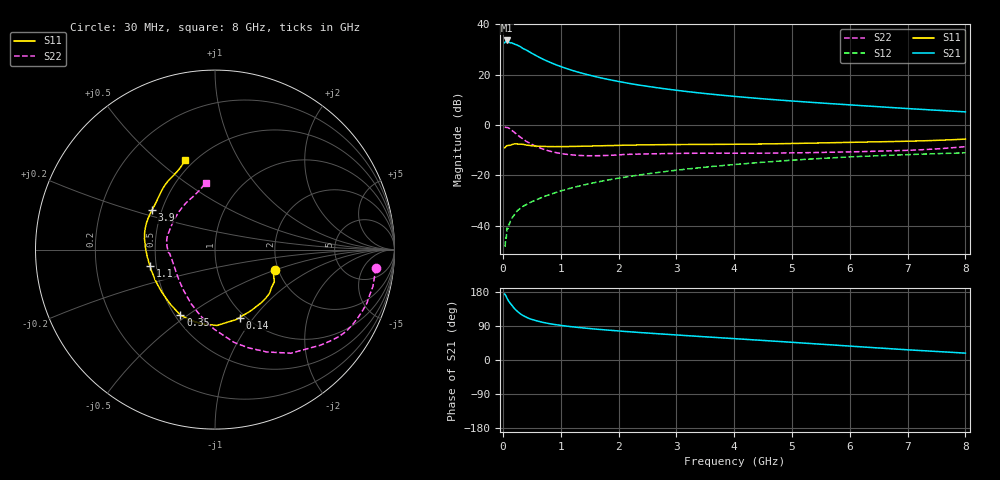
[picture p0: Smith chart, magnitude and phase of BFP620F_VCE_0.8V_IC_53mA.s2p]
! Infineon Technologies  Discrete & RF Semiconductors
! BFP620F
! VCE =  0.8 V,  IC =  53 mA
! Common Emitter S-Parameters:  Dec 2014
# GHz  S  MA  R  50
!  f  S11  S21  S12  S22
! GHz  MAG  ANG  MAG  ANG  MAG  ANG  MAG  ANG
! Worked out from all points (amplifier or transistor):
!   95 points, 30 MHz to 8 GHz, reference 50 ohm
!   highest |S21| = 33.6 dB at 70 MHz (marker M1)
!   |S21| within 3 dB of that: start of sweep to 335.5 MHz
!   unconditionally stable (mu >= 1): 1.704 GHz to end of sweep
!   at 300 MHz: K = 0.51, MSG = 32.2 dB, |S12| = -33.2 dB
!   at 3.3 GHz: K = 1.03, MAG = 14.0 dB, |S12| = -17.2 dB
!   at 8 GHz: K = 1.06, MAG = 6.7 dB, |S12| = -11.1 dB
!   S11 on the Smith chart (normalised r, x): 30 MHz: 1.93, -0.49; 140 MHz: 0.94, -0.85; 350 MHz: 0.53, -0.47; 1.1 GHz: 0.46, -0.10; 3.9 GHz: 0.44, +0.24; 8 GHz: 0.45, +0.62
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0.03  0.3539 -18.4  43.13 174.2  0.0039 80.0  0.902 -6.5
0.05  0.3758 -28.4  46.58 170.0  0.0058 73.6  0.9034 -13.2
0.07  0.3893 -38.7  48.13 163.6  0.0089 82.1  0.8975 -19.4
0.09  0.3926 -48.4  46.75 157.8  0.0087 76.6  0.8824 -25.4
0.12  0.396 -62.5  43.41 151.1  0.0114 72.0  0.8451 -34.8
0.14  0.403 -70.1  43.04 147.3  0.0132 69.6  0.8067 -40.2
0.2  0.4227 -88.5  40.75 135.7  0.0165 66.9  0.7152 -53.8
0.25  0.4203 -100.5  38.81 128.4  0.0198 65.6  0.6395 -63.1
0.3  0.4165 -109.7  36.36 122.0  0.022 63.1  0.5776 -71.3
0.35  0.4128 -117.9  33.18 117.2  0.0242 63.3  0.5275 -78.4
0.45  0.3943 -128.6  28.95 109.8  0.0279 62.4  0.4456 -90.2
0.6  0.3792 -141.5  23.2 102.7  0.0334 63.1  0.3639 -105.1
0.8  0.3739 -153.3  17.98 96.1  0.0411 64.0  0.3046 -120.8
1.1  0.3731 -165.7  13.29 89.4  0.0527 64.5  0.2618 -140.4
1.4  0.38 -174.2  10.51 84.5  0.0643 64.3  0.2464 -155.6
1.9  0.3913 175.0  7.749 77.9  0.084 62.9  0.2514 -173.0
2.7  0.4067 162.7  5.461 69.1  0.1146 58.6  0.2693 174.2
3.9  0.4145 147.9  3.813 57.4  0.16 50.8  0.2755 161.4
4.1  0.4158 145.6  3.633 55.4  0.1675 49.4  0.275 158.8
5.4  0.4386 133.7  2.797 42.7  0.2134 39.2  0.284 140.4
6.7  0.469 121.4  2.238 29.8  0.2506 28.4  0.307 120.8
8  0.5258 108.7  1.83 18.1  0.2801 18.2  0.3721 98.1
